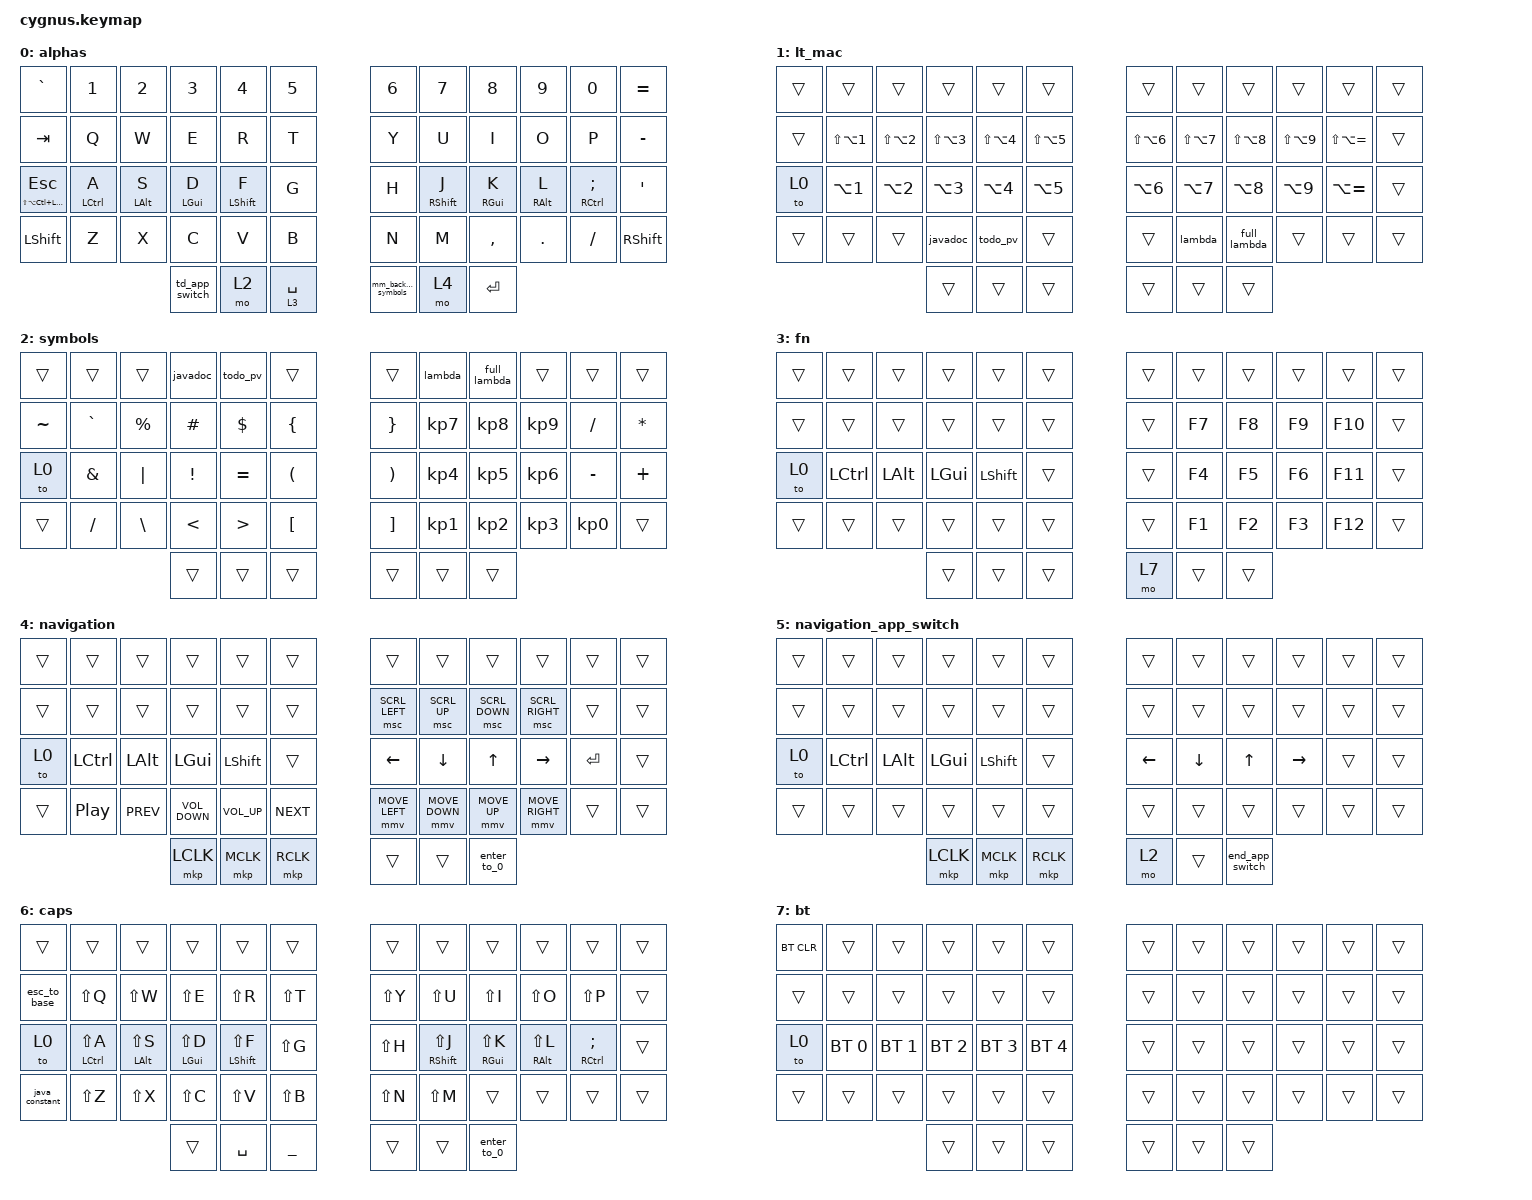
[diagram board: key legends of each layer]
#include <behaviors.dtsi>
#include <dt-bindings/zmk/bt.h>
#include <dt-bindings/zmk/keys.h>
#include <dt-bindings/zmk/pointing.h>

/ {
    combos {
        compatible = "zmk,combos";

        copy {
            bindings = <&kp LG(C)>;
            key-positions = <38 39>;
            require-prior-idle-ms = <0>;
            layers = <0 1 2 3 4 6>;
        };

        paste {
            bindings = <&kp LG(V)>;
            key-positions = <38 40>;
            layers = <0 1 2 3 4 6>;
        };

        screenshot {
            bindings = <&kp LG(LA(C))>;
            key-positions = <38 39 40>;
            layers = <0 1 2 3 4>;
        };

        undo {
            bindings = <&kp LG(Z)>;
            key-positions = <29 28>;
            require-prior-idle-ms = <200>;
            layers = <0 1 2 3 4 6>;
        };

        redo {
            bindings = <&kp LG(LS(Z))>;
            key-positions = <30 31>;
            require-prior-idle-ms = <200>;
            layers = <0 1 2 3 4 6>;
        };

        to_caps {
            bindings = <&to 6>;
            key-positions = <14 15 16>;
            layers = <0 6>;
        };

        vol_up {
            bindings = <&kp C_VOLUME_UP>;
            key-positions = <16 17>;
            require-prior-idle-ms = <200>;
            layers = <0 1 2 3 4 6>;
        };

        vol_down {
            bindings = <&kp C_VOLUME_DOWN>;
            key-positions = <40 41>;
            require-prior-idle-ms = <200>;
            layers = <0 1 2 3 4 6>;
        };

        zoom_in {
            bindings = <&kp LG(EQUAL)>;
            key-positions = <18 19>;
            require-prior-idle-ms = <200>;
            layers = <0 1 2 3 4 6>;
        };

        zoom_out {
            bindings = <&kp LG(MINUS)>;
            key-positions = <42 43>;
            require-prior-idle-ms = <200>;
            layers = <0 1 2 3 4 6>;
        };

        to_nav {
            bindings = <&to 4>;
            key-positions = <31 32 33>;
            layers = <0 6>;
        };

        to_symbols {
            bindings = <&to 2>;
            key-positions = <19 20 21>;
            layers = <0 6>;
        };
    };

    behaviors {
        ht_hyper: hold_tap_hyper {
            compatible = "zmk,behavior-hold-tap";
            bindings = <&kp>, <&kp>;

            #binding-cells = <2>;
            tapping-term-ms = <200>;
            quick-tap-ms = <125>;
            require-prior-idle-ms = <70>;
        };

        hrm_left: home_row_left {
            compatible = "zmk,behavior-hold-tap";
            bindings = <&kp>, <&kp>;

            #binding-cells = <2>;
            tapping-term-ms = <200>;
            quick-tap-ms = <300>;
            require-prior-idle-ms = <0>;
            flavor = "balanced";
            hold-trigger-key-positions = <48 49 50 6 7 8 9 10 11 18 19 20 21 22 23 30 31 32 33 34 35 42 43 44 45 46 47 51 52 53>;
        };

        hrm_right: home_row_right {
            compatible = "zmk,behavior-hold-tap";
            bindings = <&kp>, <&kp>;

            #binding-cells = <2>;
            tapping-term-ms = <200>;
            quick-tap-ms = <300>;
            require-prior-idle-ms = <0>;
            flavor = "balanced";
            hold-trigger-key-positions = <53 52 51 0 1 2 3 4 5 12 13 14 15 16 17 24 25 26 27 28 29 36 37 38 39 40 41 48 49 50>;
        };

        sticky_quick: sticky_quick {
            compatible = "zmk,behavior-sticky-key";
            label = "STICKY_QUICK";
            bindings = <&kp>;
            #binding-cells = <1>;
            release-after-ms = <1000>;
            quick-release;
        };

        td_app_switch: td_app_switch {
            compatible = "zmk,behavior-tap-dance";
            label = "TD_APP_SWITCH";
            #binding-cells = <0>;
            bindings = <&kp LG(TAB)>, <&start_app_switch>;
        };

        coma_at: coma_at {
            compatible = "zmk,behavior-mod-morph";
            label = "COMA_AT";
            bindings = <&kp COMMA>, <&kp AT_SIGN>;

            #binding-cells = <0>;
            mods = <(MOD_LSFT|MOD_RSFT)>;
        };

        mm_backspace_symbols: mm_backspace_symbols {
            compatible = "zmk,behavior-mod-morph";
            label = "MM_BACKSPACE_SYMBOLS";
            bindings = <&kp BACKSPACE>, <&mo 2>;

            #binding-cells = <0>;
            mods = <(MOD_RSFT)>;
        };
    };

    macros {
        esc_to_base: esc_to_base {
            compatible = "zmk,behavior-macro";
            #binding-cells = <0>;
            bindings = <&kp ESC &to 0>;
            label = "ESC_TO_BASE";
        };

        lambda: lambda {
            compatible = "zmk,behavior-macro";
            #binding-cells = <0>;
            bindings = <&kp SPACE &kp MINUS &kp GT &kp SPACE>;
            label = "LAMBDA";
        };

        full_lambda: full_lambda {
            compatible = "zmk,behavior-macro";
            #binding-cells = <0>;
            bindings =
                <&kp LPAR &kp RPAR &kp SPACE &kp MINUS &kp GT &kp SPACE &kp LBRC &kp RBRC>,
                <&macro_wait_time 30>,
                <&kp LEFT_ARROW &kp LEFT_ARROW &kp LEFT_ARROW &kp LEFT_ARROW &kp LEFT_ARROW &kp LEFT_ARROW &kp LEFT_ARROW>;

            label = "FULL_LAMBDA";
        };

        todo_pv: todo_pv {
            compatible = "zmk,behavior-macro";
            #binding-cells = <0>;
            bindings = <&kp FSLH &kp FSLH &kp SPACE &kp LS(T) &kp LS(O) &kp LS(D) &kp LS(O) &kp SPACE &kp LS(P) &kp LS(V) &kp COLON &kp SPACE>;
            label = "TODO_PV";
        };

        javadoc: javadoc {
            compatible = "zmk,behavior-macro";
            #binding-cells = <0>;
            bindings = <&kp FSLH &kp STAR &kp STAR &kp ENTER>;
            label = "JAVADOC";
        };

        java_constant: java_constant {
            compatible = "zmk,behavior-macro";
            #binding-cells = <0>;
            bindings = <&kp P &kp U &kp B &kp L &kp I &kp C &kp SPACE &kp S &kp T &kp A &kp T &kp I &kp C &kp SPACE &kp F &kp I &kp N &kp A &kp L &kp SPACE>;
            label = "JAVA_CONSTANT";
        };

        full_paranthesis: full_paranthesis {
            compatible = "zmk,behavior-macro";
            #binding-cells = <0>;
            bindings =
                <&kp LPAR &kp RPAR>,
                <&macro_wait_time 30>,
                <&kp LEFT_ARROW>;

            label = "FULL_PARANTHESIS";
        };

        full_brackets: full_brackets {
            compatible = "zmk,behavior-macro";
            #binding-cells = <0>;
            bindings =
                <&kp LEFT_BRACKET &kp RIGHT_BRACKET>,
                <&macro_wait_time 30>,
                <&kp LEFT_ARROW>;

            label = "FULL_BRACKETS";
        };

        full_braces: full_braces {
            compatible = "zmk,behavior-macro";
            #binding-cells = <0>;
            bindings =
                <&kp LEFT_BRACE &kp RIGHT_BRACE>,
                <&macro_wait_time 30>,
                <&kp LEFT_ARROW>;

            label = "FULL_BRACES";
        };

        full_less_greater: full_less_greater {
            compatible = "zmk,behavior-macro";
            #binding-cells = <0>;
            bindings =
                <&kp LESS_THAN &kp GREATER_THAN>,
                <&macro_wait_time 30>,
                <&kp LEFT_ARROW>;

            label = "FULL_LESS_GREATER";
        };

        start_app_switch: start_app_switch {
            compatible = "zmk,behavior-macro";
            #binding-cells = <0>;
            bindings = <&kt LGUI &kp TAB &to 5>;
            label = "START_APP_SWITCH";
        };

        end_app_switch: end_app_switch {
            compatible = "zmk,behavior-macro";
            #binding-cells = <0>;
            bindings = <&kt LGUI &to 0>;
            label = "END_APP_SWITCH";
        };

        enter_to_0: accept_to_0 {
            compatible = "zmk,behavior-macro";
            #binding-cells = <0>;
            bindings = <&kp ENTER &to 0>;
            label = "ACCEPT_TO_0";
        };
    };

    keymap {
        compatible = "zmk,keymap";

        alphas {
            // -----------------------------------------------------------------------------------------
            // |  ESC |  1  |  2  |  3  |  4  |  5  |   |  6  |  7   |  8  |  9  |  0  |  ?   |
            // |  TAB |  Q  |  W  |  E  |  R  |  T  |   |  Y  |  U   |  I  |  O  |  P  | BKSP |
            // | CTRL |  A  |  S  |  D  |  F  |  G  |   |  H  |  J   |  K  |  L  |  ;  |  '   |
            // | SHFT |  Z  |  X  |  C  |  V  |  B  |   |  N  |  M   |  ,  |  .  |  /  | ESC  |
            //                    | GUI | LWR | SPC |   | ENT | RSE  | ALT |

            bindings = <
&kp GRAVE                       &kp N1             &kp N2            &kp N3            &kp N4              &kp N5         &kp N6                 &kp N7              &kp N8             &kp N9             &kp N0                      &kp EQUAL
&kp TAB                         &kp Q              &kp W             &kp E             &kp R               &kp T          &kp Y                  &kp U               &kp I              &kp O              &kp P                       &kp MINUS
&ht_hyper LS(LA(LC(LGUI))) ESC  &hrm_left LCTRL A  &hrm_left LALT S  &hrm_left LGUI D  &hrm_left LSHIFT F  &kp G          &kp H                  &hrm_right RSHFT J  &hrm_right RGUI K  &hrm_right RALT L  &hrm_right RCTRL SEMICOLON  &kp SQT
&kp LSHFT                       &kp Z              &kp X             &kp C             &kp V               &kp B          &kp N                  &kp M               &kp COMMA          &kp DOT            &kp SLASH                   &kp RSHFT
                                                                     &td_app_switch    &mo 2               &lt 3 SPACE    &mm_backspace_symbols  &mo 4               &kp ENTER
            >;
        };

        lt_mac {
            // -----------------------------------------------------------------------------------------
            // |  TAB |  F1 |  F2 |  F3 |  F4 |  F5 |   |  F6 |  F7 |  F8 |  F9 | F10 | BKSP |
            // |  TAB |  1  |  2  |  3  |  4  |  5  |   |  6  |  7  |  8  |  9  |  0  | BKSP |
            // | BTCLR| BT1 | BT2 | BT3 | BT4 | BT5 |   | LFT | DWN |  UP | RGT |     |      |
            // | SHFT |     |     |     |     |     |   |     |     |     |     |     |      |
            //                    | GUI |     | SPC |   | ENT |     | ALT |

            bindings = <
&trans  &trans                &trans                &trans                &trans                &trans            &trans          &trans          &trans          &trans          &trans             &trans
&trans  &kp LS(LA(NUMBER_1))  &kp LS(LA(NUMBER_2))  &kp LS(LA(NUMBER_3))  &kp LS(LA(NUMBER_4))  &kp LS(LA(N5))    &kp LS(LA(N6))  &kp LS(LA(N7))  &kp LS(LA(N8))  &kp LS(LA(N9))  &kp LS(LA(EQUAL))  &trans
&to 0   &kp LA(N1)            &kp LA(N2)            &kp LA(N3)            &kp LA(N4)            &kp LA(N5)        &kp LA(N6)      &kp LA(N7)      &kp LA(N8)      &kp LA(N9)      &kp LA(EQUAL)      &trans
&trans  &trans                &trans                &javadoc              &todo_pv              &trans            &trans          &lambda         &full_lambda    &trans          &trans             &trans
                                                    &trans                &trans                &trans            &trans          &trans          &trans
            >;
        };

        symbols {
            // -----------------------------------------------------------------------------------------
            // |  TAB |  !  |  @  |  #  |  $  |  %  |   |  ^  |  &  |  *  |  (  |  )  | BKSP |
            // | CTRL |     |     |     |     |     |   |  -  |  =  |  [  |  ]  |  \  |  `   |
            // | SHFT |     |     |     |     |     |   |  _  |  +  |  {  |  }  | "|" |  ~   |
            //                    | GUI |     | SPC |   | ENT |     | ALT |

            bindings = <
&trans     &trans         &trans         &javadoc       &todo_pv          &trans                  &trans                 &lambda    &full_lambda  &trans     &trans     &trans
&kp TILDE  &kp GRAVE      &kp PERCENT    &kp HASH       &kp DLLR          &kp LEFT_BRACE          &kp RIGHT_BRACE        &kp KP_N7  &kp KP_N8     &kp KP_N9  &kp SLASH  &kp ASTERISK
&to 0      &kp AMPERSAND  &kp PIPE       &kp EXCL       &kp EQUAL         &kp LEFT_PARENTHESIS    &kp RIGHT_PARENTHESIS  &kp KP_N4  &kp KP_N5     &kp KP_N6  &kp MINUS  &kp PLUS
&trans     &kp SLASH      &kp BACKSLASH  &kp LESS_THAN  &kp GREATER_THAN  &kp LEFT_BRACKET        &kp RIGHT_BRACKET      &kp KP_N1  &kp KP_N2     &kp KP_N3  &kp KP_N0  &trans
                                         &trans         &trans            &trans                  &trans                 &trans     &trans
            >;
        };

        fn {
            bindings = <
&trans  &trans     &trans    &trans    &trans     &trans    &trans  &trans  &trans  &trans  &trans   &trans
&trans  &trans     &trans    &trans    &trans     &trans    &trans  &kp F7  &kp F8  &kp F9  &kp F10  &trans
&to 0   &kp LCTRL  &kp LALT  &kp LGUI  &kp LSHFT  &trans    &trans  &kp F4  &kp F5  &kp F6  &kp F11  &trans
&trans  &trans     &trans    &trans    &trans     &trans    &trans  &kp F1  &kp F2  &kp F3  &kp F12  &trans
                             &trans    &trans     &trans    &mo 7   &trans  &trans
            >;
        };

        navigation {
            bindings = <
&trans  &trans     &trans      &trans             &trans           &trans        &trans          &trans          &trans          &trans           &trans     &trans
&trans  &trans     &trans      &trans             &trans           &trans        &msc SCRL_LEFT  &msc SCRL_UP    &msc SCRL_DOWN  &msc SCRL_RIGHT  &trans     &trans
&to 0   &kp LCTRL  &kp LALT    &kp LGUI           &kp LSHFT        &trans        &kp LEFT        &kp DOWN        &kp UP          &kp RIGHT        &kp ENTER  &trans
&trans  &kp C_PP   &kp C_PREV  &kp C_VOLUME_DOWN  &kp C_VOLUME_UP  &kp C_NEXT    &mmv MOVE_LEFT  &mmv MOVE_DOWN  &mmv MOVE_UP    &mmv MOVE_RIGHT  &trans     &trans
                               &mkp LCLK          &mkp MCLK        &mkp RCLK     &trans          &trans          &enter_to_0
            >;
        };

        navigation_app_switch {
            bindings = <
&trans  &trans     &trans    &trans     &trans     &trans       &trans    &trans    &trans           &trans     &trans  &trans
&trans  &trans     &trans    &trans     &trans     &trans       &trans    &trans    &trans           &trans     &trans  &trans
&to 0   &kp LCTRL  &kp LALT  &kp LGUI   &kp LSHFT  &trans       &kp LEFT  &kp DOWN  &kp UP           &kp RIGHT  &trans  &trans
&trans  &trans     &trans    &trans     &trans     &trans       &trans    &trans    &trans           &trans     &trans  &trans
                             &mkp LCLK  &mkp MCLK  &mkp RCLK    &mo 2     &trans    &end_app_switch
            >;
        };

        caps {
            bindings = <
&trans          &trans                 &trans                    &trans                &trans                 &trans            &trans     &trans                  &trans                 &trans                 &trans                      &trans
&esc_to_base    &kp LS(Q)              &kp LS(W)                 &kp LS(E)             &kp LS(R)              &kp LS(T)         &kp LS(Y)  &kp LS(U)               &kp LS(I)              &kp LS(O)              &kp LS(P)                   &trans
&to 0           &hrm_left LCTRL LS(A)  &hrm_left LEFT_ALT LS(S)  &hrm_left LGUI LS(D)  &hrm_left LSHFT LS(F)  &kp LS(G)         &kp LS(H)  &hrm_right RSHFT LS(J)  &hrm_right RGUI LS(K)  &hrm_right RALT LS(L)  &hrm_right RCTRL SEMICOLON  &trans
&java_constant  &kp LS(Z)              &kp LS(X)                 &kp LS(C)             &kp LS(V)              &kp LS(B)         &kp LS(N)  &kp LS(M)               &trans                 &trans                 &trans                      &trans
                                                                 &trans                &kp SPACE              &kp UNDERSCORE    &trans     &trans                  &enter_to_0
            >;
        };

        bt {
            bindings = <
&bt BT_CLR  &trans        &trans        &trans        &trans        &trans          &trans  &trans  &trans  &trans  &trans  &trans
&trans      &trans        &trans        &trans        &trans        &trans          &trans  &trans  &trans  &trans  &trans  &trans
&to 0       &bt BT_SEL 0  &bt BT_SEL 1  &bt BT_SEL 2  &bt BT_SEL 3  &bt BT_SEL 4    &trans  &trans  &trans  &trans  &trans  &trans
&trans      &trans        &trans        &trans        &trans        &trans          &trans  &trans  &trans  &trans  &trans  &trans
                                        &trans        &trans        &trans          &trans  &trans  &trans
            >;
        };
    };
};
